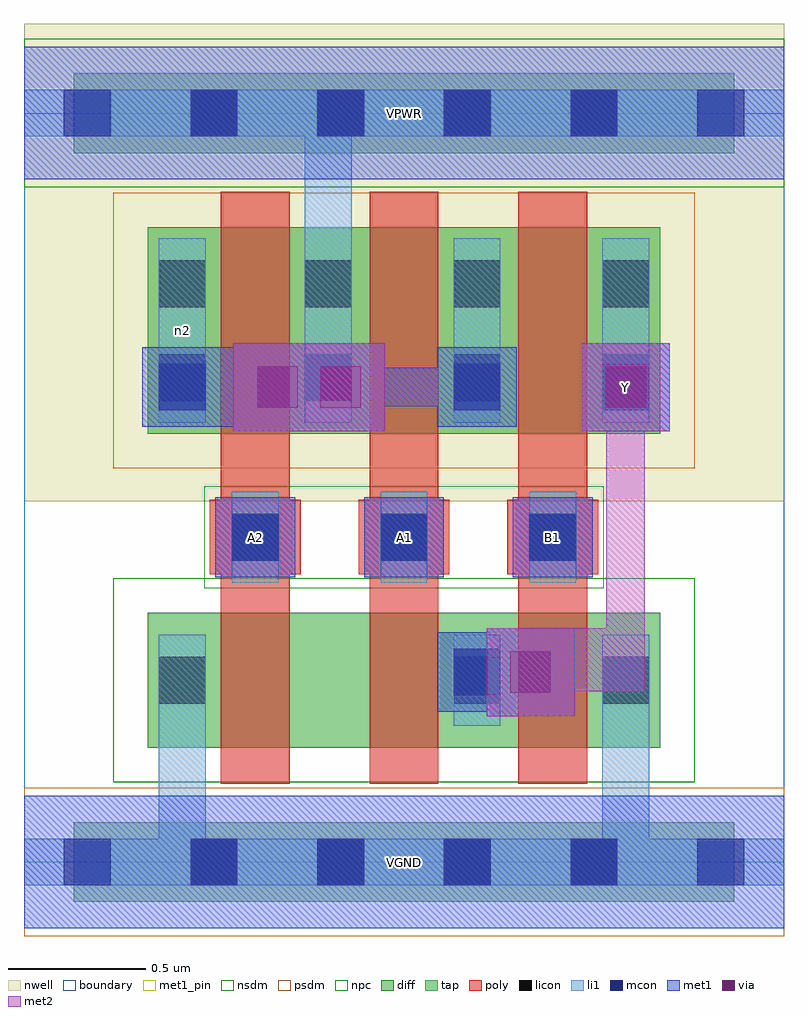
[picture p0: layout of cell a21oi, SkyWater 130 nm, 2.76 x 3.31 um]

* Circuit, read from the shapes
.subckt a21oi A1 A2 B1 VGND VPWR Y n2
XM1 n1 A2 VGND VGND sky130_fd_pr__nfet_01v8 w=0.49 l=0.25
XM2 Y A1 n1 VGND sky130_fd_pr__nfet_01v8 w=0.49 l=0.25
XM3 VGND B1 Y VGND sky130_fd_pr__nfet_01v8 w=0.49 l=0.25
XM4 VPWR A2 n2 VPWR sky130_fd_pr__pfet_01v8 w=0.75 l=0.25
XM5 n2 A1 VPWR VPWR sky130_fd_pr__pfet_01v8 w=0.75 l=0.25
XM6 Y B1 n2 VPWR sky130_fd_pr__pfet_01v8 w=0.75 l=0.25
.ends

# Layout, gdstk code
import gdstk
lib = gdstk.Library(unit=1e-6, precision=1e-09)
def R(c, l, rs):  # rectangles x0, y0, x1, y1
    for r in rs: c.add(gdstk.rectangle(r[:2], r[2:], *l))
def A(c, l, x, y, w, h, nx, ny, dx, dy):  # array of equal rectangles
    R(c, l, [(x+i*dx, y+j*dy, x+i*dx+w, y+j*dy+h) for i in range(nx) for j in range(ny)])
nwell = (64, 20)
diff = (65, 20)
tap = (65, 44)
poly = (66, 20)
licon = (66, 44)
li1 = (67, 20)
mcon = (67, 44)
met1_pin = (68, 16)
met1 = (68, 20)
via = (68, 44)
met2 = (69, 20)
nsdm = (93, 44)
psdm = (94, 20)
npc = (95, 20)
boundary = (235, 4)

a21oi = lib.new_cell('a21oi')
R(a21oi, nwell, [(0,1.31,2.76,3.045)])
R(a21oi, diff, [(0.45,0.415,2.31,0.905), (0.45,1.555,2.31,2.305)])
R(a21oi, tap, [(0.18,-0.145,2.58,0.145), (0.18,2.575,2.58,2.865)])
A(a21oi, poly, 0.715, 0.285, 0.25, 2.15, 3, 1, 0.54, 0)
A(a21oi, poly, 0.675, 1.045, 0.33, 0.27, 3, 1, 0.54, 0)
A(a21oi, licon, 0.605, -0.085, 0.17, 0.17, 4, 2, 0.46, 2.72)
A(a21oi, licon, 0.755, 1.095, 0.17, 0.17, 3, 1, 0.54, 0)
A(a21oi, licon, 1.02, 1.675, 0.17, 0.17, 3, 2, 0.54, 0.34)
R(a21oi, licon, [(0.49,0.575,0.66,0.745), (1.56,0.575,1.73,0.745), (2.1,0.575,2.27,0.745), (0.49,1.675,0.66,1.845), (0.49,2.015,0.66,2.185)])
A(a21oi, li1, 0.755, 1.015, 0.17, 0.33, 3, 1, 0.54, 0)
A(a21oi, li1, 1.02, 1.595, 0.17, 0.67, 3, 1, 0.54, 0)
R(a21oi, li1, [(0,-0.085,2.76,0.085), (0.49,-0.085,0.66,0.825), (2.1,-0.085,2.27,0.825), (0.49,0.495,0.66,0.825), (1.56,0.495,1.73,0.825), (2.1,0.495,2.27,0.825), (0.49,1.595,0.66,2.265), (1.02,1.595,1.19,2.805), (0,2.635,2.76,2.805)])
A(a21oi, mcon, 0.145, -0.085, 0.17, 0.17, 6, 2, 0.46, 2.72)
A(a21oi, mcon, 0.755, 1.095, 0.17, 0.17, 3, 1, 0.54, 0)
R(a21oi, mcon, [(1.56,0.605,1.73,0.775), (0.49,1.64,0.66,1.81), (1.56,1.64,1.73,1.81), (2.1,1.64,2.27,1.81)])
A(a21oi, met1_pin, 0.695, 1.035, 0.29, 0.29, 3, 1, 0.54, 0)
R(a21oi, met1_pin, [(0,-0.24,2.76,0.24), (2.025,1.565,2.345,1.885), (0,2.48,2.76,2.96)])
A(a21oi, met1, 0.695, 1.035, 0.29, 0.29, 3, 1, 0.54, 0)
R(a21oi, met1, [(0,-0.24,2.76,0.24), (1.68,0.53,2,0.85), (1.5,0.545,1.79,0.835), (1.575,0.62,1.91,0.76), (0.76,1.565,1.08,1.885), (0.99,1.565,1.31,1.885), (2.025,1.565,2.345,1.885), (0.43,1.58,0.72,1.87), (0.72,1.58,0.76,1.87), (1.5,1.58,1.79,1.87), (2.04,1.58,2.33,1.87), (0.505,1.655,0.99,1.795), (1.08,1.655,1.565,1.795), (1.425,1.655,1.715,1.795), (0,2.48,2.76,2.96)])
R(a21oi, via, [(1.765,0.615,1.915,0.765), (0.845,1.65,0.995,1.8), (1.075,1.65,1.225,1.8), (2.11,1.65,2.26,1.8)])
R(a21oi, met2, [(1.68,0.53,2,0.85), (1.77,0.62,2.255,0.76), (2,0.62,2.115,0.85), (2.115,0.62,2.255,1.795), (0.76,1.565,1.08,1.885), (0.99,1.565,1.31,1.885), (2.025,1.565,2.345,1.885), (0.85,1.655,1.22,1.795)])
R(a21oi, nsdm, [(0.325,0.29,2.435,1.03), (0,2.45,2.76,2.99)])
R(a21oi, psdm, [(0,-0.27,2.76,0.27), (0.325,1.43,2.435,2.43)])
R(a21oi, npc, [(0.655,0.995,2.105,1.365)])
R(a21oi, boundary, [(0,0,2.76,2.72)])
a21oi.add(gdstk.Label('n2', (0.575,1.93), layer=67, texttype=5))
a21oi.add(gdstk.Label('A1', (1.38,1.18), layer=68, texttype=5))
a21oi.add(gdstk.Label('A2', (0.84,1.18), layer=68, texttype=5))
a21oi.add(gdstk.Label('B1', (1.92,1.18), layer=68, texttype=5))
a21oi.add(gdstk.Label('Y', (2.185,1.725), layer=68, texttype=5))
a21oi.add(gdstk.Label('VPWR', (1.38,2.72), layer=68, texttype=5))
a21oi.add(gdstk.Label('VGND', (1.38,0), layer=68, texttype=5))
a21oi.add(gdstk.Label('A1', (1.38,1.18), layer=68, texttype=16))
a21oi.add(gdstk.Label('A2', (0.84,1.18), layer=68, texttype=16))
a21oi.add(gdstk.Label('B1', (1.92,1.18), layer=68, texttype=16))
a21oi.add(gdstk.Label('Y', (2.185,1.725), layer=68, texttype=16))
a21oi.add(gdstk.Label('VPWR', (1.38,2.72), layer=68, texttype=16))
a21oi.add(gdstk.Label('VGND', (1.38,0), layer=68, texttype=16))

lib.write_gds('a21oi.gds')
